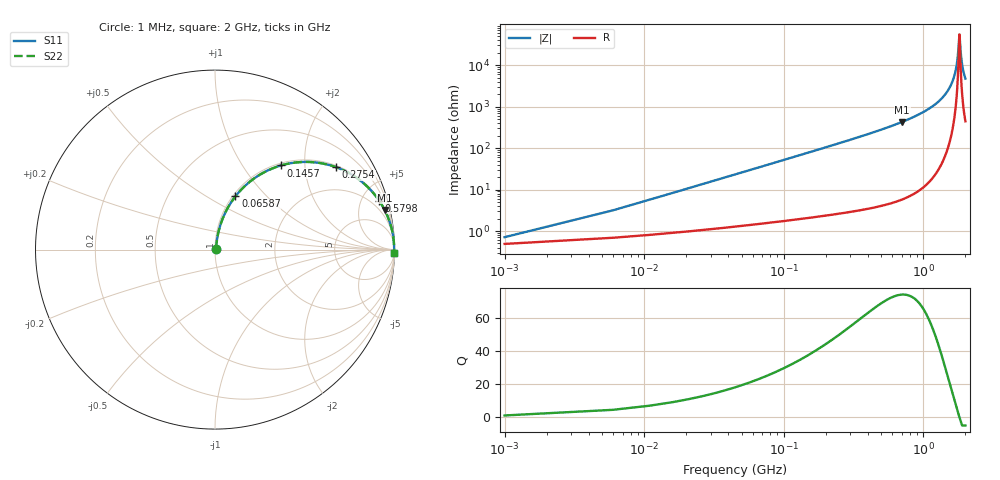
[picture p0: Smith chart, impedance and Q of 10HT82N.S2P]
! Coilcraft 1008HT-82N Chip Inductor
! 16 July 2002
# MHZ S MA R 50
!Freq  MagS11  AngS11  MagS21  AngS21  MagS12  AngS12  MagS22  AngS22
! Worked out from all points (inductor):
!   402 points, 1 MHz to 2 GHz, reference 50 ohm
!   read as one part in series: L = 82 nH near 10.98 MHz
!   highest Q = 74.4 at 704.6 MHz (marker M1), where L = 96.6 nH
!   self-resonance near 1.812 GHz
!   S11 on the Smith chart (normalised r, x): 1 MHz: 1.01, +0.01; 65.87 MHz: 1.03, +0.68; 145.7 MHz: 1.04, +1.51; 275.4 MHz: 1.06, +2.91; 579.8 MHz: 1.09, +6.66; 2 GHz: 10, -94
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1  0.007062 46.3  0.9951 -0.3  0.9951 -0.3  0.007062 46.3
15.97  0.08177 79.1  0.9878 -4.7  0.9878 -4.7  0.08177 79.1
20.96  0.1068 78.7  0.9847 -6.1  0.9847 -6.1  0.1068 78.7
40.92  0.2043 74.9  0.967 -11.8  0.967 -11.8  0.2043 74.9
65.87  0.3179 69.0  0.9345 -18.5  0.9345 -18.5  0.3179 69.0
145.71  0.5953 51.9  0.7876 -36.5  0.7876 -36.5  0.5953 51.9
275.45  0.8166 34.2  0.562 -54.7  0.562 -54.7  0.8166 34.2
335.33  0.8666 29.0  0.4844 -60.1  0.4844 -60.1  0.8666 29.0
579.84  0.9541 16.7  0.2867 -72.6  0.2867 -72.6  0.9541 16.7
669.66  0.967 14.0  0.242 -75.2  0.242 -75.2  0.967 14.0
704.59  0.9708 13.1  0.227 -76.1  0.227 -76.1  0.9708 13.1
1003.99  0.9891 7.6  0.1326 -81.5  0.1326 -81.5  0.9891 7.6
1338.32  0.9961 3.8  0.06575 -84.8  0.06575 -84.8  0.9961 3.8
1537.92  0.9977 2.0  0.03533 -85.2  0.03533 -85.2  0.9977 2.0
1667.66  0.9981 1.0  0.01794 -83.4  0.01794 -83.4  0.9981 1.0
1747.5  0.9982 0.4  0.008047 -76.8  0.008047 -76.8  0.9982 0.4
1812.37  0.9982 0.0  0.001817 -1.8  0.001817 -1.8  0.9982 0.0
1822.35  0.9982 -0.1  0.002137 31.4  0.002137 31.4  0.9982 -0.1
1857.28  0.9981 -0.3  0.005493 70.0  0.005493 70.0  0.9981 -0.3
1887.22  0.9981 -0.5  0.008793 77.2  0.008793 77.2  0.9981 -0.5
1937.12  0.998 -0.8  0.0143 81.5  0.0143 81.5  0.998 -0.8
2000  0.9978 -1.2  0.02111 83.4  0.02111 83.4  0.9978 -1.2
